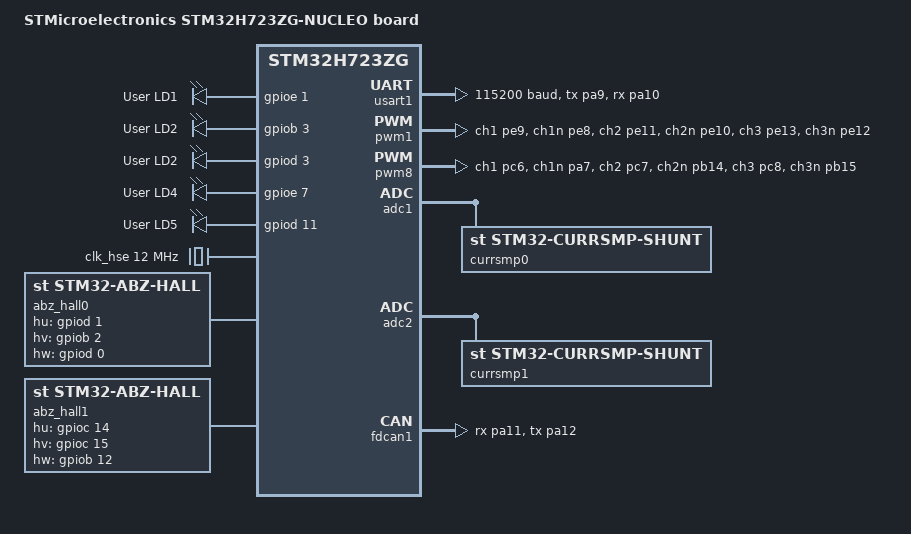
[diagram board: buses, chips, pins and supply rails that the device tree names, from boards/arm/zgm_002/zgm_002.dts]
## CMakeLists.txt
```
# SPDX-License-Identifier: Apache-2.0

cmake_minimum_required(VERSION 3.20.0)
find_package(Zephyr REQUIRED HINTS $ENV{ZEPHYR_BASE})

project(motor)

add_subdirectory(drivers)
add_subdirectory(lib)
add_subdirectory(canard)

zephyr_include_directories(
    include
    ProtocolV4/uavcan/.cFolder 
    ProtocolV4/uavcan/libcanard/libcanard
    CommonLibrary
)
zephyr_library_sources(ProtocolV4/uavcan/libcanard/libcanard/canard.c)
zephyr_library_sources(CommonLibrary/statemachine/statemachine.c)
zephyr_library_sources(CommonLibrary/algorithmlib/pid.c)
zephyr_library_sources(CommonLibrary/algorithmlib/filter.c)
zephyr_library_sources(CommonLibrary/algorithmlib/s_posi_planning.c)

target_sources(app PRIVATE modulestest/main.c)
```

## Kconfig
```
# motor/Kconfig
# 必须包含 Zephyr 的主 Kconfig 以初始化核心配置
source "Kconfig.zephyr"
rsource "lib/Kconfig"
rsource "lib/bldcmotor/Kconfig.motor"
rsource "Kconfig.app"
```

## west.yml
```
# motor/west.yml
manifest:
  remotes:
    - name: zephyrproject
      url-base: https://github.com/zephyrproject-rtos
  projects:
    - name: zephyr
      path: zephyr
      remote: zephyrproject
      revision:  main # 确保此版本支持 STM32G4i
  self:
    path: motor      
```

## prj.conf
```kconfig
CONFIG_GPIO=y
CONFIG_LOG=y
CONFIG_COMPILER_SAVE_TEMPS=y
CONFIG_CMSIS_DSP=y
CONFIG_CMSIS_DSP_BASICMATH=y  # 根据需要启用其他功能模块
CONFIG_CMSIS_DSP_CONTROLLER=y  # 启用三角函数函数（包含 arm_sin_cos_f32）
CONFIG_CMSIS_DSP_FASTMATH=y

# 禁用 UART 控制台输出
CONFIG_UART_CONSOLE=n

# 启用 RTT 控制台
CONFIG_RTT_CONSOLE=y

# 启用 SEGGER RTT 通信协议
CONFIG_USE_SEGGER_RTT=y

CONFIG_FPU=y
CONFIG_FPU_SHARING=y

CONFIG_DEBUG_OPTIMIZATIONS=y
CONFIG_NO_OPTIMIZATIONS=y


CONFIG_CAN=y
CONFIG_CAN_FD_MODE=y
CONFIG_CAN_STM32H7_FDCAN=y
CONFIG_CAN_INIT_PRIORITY=70

CONFIG_STD_C11=y

# CONFIG_DEVICE_ITERATION=y


# 选择电机型号
CONFIG_MOTOR_SUPER_ABZHALL_400W=y
```

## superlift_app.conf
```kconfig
CONFIG_GPIO=y
CONFIG_LOG=y
CONFIG_COMPILER_SAVE_TEMPS=y
CONFIG_CMSIS_DSP=y
CONFIG_CMSIS_DSP_BASICMATH=y  # 根据需要启用其他功能模块
CONFIG_CMSIS_DSP_CONTROLLER=y  # 启用三角函数函数（包含 arm_sin_cos_f32）
CONFIG_CMSIS_DSP_FASTMATH=y

# 禁用 UART 控制台输出
CONFIG_UART_CONSOLE=n

# 启用 RTT 控制台
CONFIG_RTT_CONSOLE=y

# 启用 SEGGER RTT 通信协议
CONFIG_USE_SEGGER_RTT=y

CONFIG_FPU=y
CONFIG_FPU_SHARING=y

CONFIG_DEBUG_OPTIMIZATIONS=y
CONFIG_NO_OPTIMIZATIONS=y
CONFIG_CAN=y
CONFIG_CAN_FD_MODE=y
CONFIG_CAN_STM32H7_FDCAN=y
CONFIG_CAN_INIT_PRIORITY=70

CONFIG_STD_C11=y

# CONFIG_DEVICE_ITERATION=y


# 选择电机型号
CONFIG_MOTOR_SUPER_ABZHALL_400W=y
CONFIG_MOTOR_MODEL=y  # 修正后的写法
```

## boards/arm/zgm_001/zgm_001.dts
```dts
/*
 * Copyright (c) 2019 Richard Osterloh <richard.osterloh@gmail.com>
 *
 * SPDX-License-Identifier: Apache-2.0
 */

/dts-v1/;
#include <st/g4/stm32g431Xb.dtsi>
#include <st/g4/stm32g431c(6-8-b)ux-pinctrl.dtsi>

/ {
	model = "STMicroelectronics STM32G431RB-NUCLEO_X board";
	compatible = "st,stm32g431rb_x-nucleo";

	chosen {
		zephyr,console = &usart3;
		zephyr,shell-uart = &usart3;
		zephyr,sram = &sram0;
		zephyr,flash = &flash0;
		zephyr,code-partition = &slot0_partition;
	};

	leds: leds {
		compatible = "gpio-leds";
		green_led: led_0 {
			gpios = <&gpioc 4 GPIO_ACTIVE_HIGH>;
			label = "User LD2";
		};
	};
    motors {
        motor1: motor_1 {
            compatible = "motor-bldc";
            control-algorithm = <&foc1>;
            status = "okay";
        };
    };
	control_algorithm {
		foc1:ctrl_algo1{
			compatible = "foc-ctrl-algo";
			currsmp = <&currsmp1>;
			pwm = <&pwm1>;
			feedback = <&abz_hall2>;
			modulate = <1>;
			status = "okay";
		};
	};	
	aliases {
		led0 = &green_led;
		mcuboot-led0 = &green_led;
		watchdog0 = &iwdg;
	};
};

&clk_lsi {
	status = "okay";
};

&clk_lse {
	status = "disabled";
};

&clk_hsi48 {
	status = "okay";
};

&clk_hse {
	clock-frequency = <DT_FREQ_M(24)>;
	status = "okay";
};

&pll {
	div-m = <6>;
	mul-n = <85>;
	div-p = <7>;
	div-q = <2>;
	div-r = <2>;
	clocks = <&clk_hse>;
	status = "okay";
};

&rcc {
	clocks = <&pll>;
	clock-frequency = <DT_FREQ_M(170)>;
	ahb-prescaler = <1>;
	apb1-prescaler = <1>;
	apb2-prescaler = <1>;
};

&rng {
	clocks = <&rcc STM32_CLOCK_BUS_AHB2 0x04000000>,
		 <&rcc STM32_SRC_HSI48 CLK48_SEL(0)>;
	status = "okay";
};

&usart3 {
	pinctrl-0 = <&usart3_tx_pb10 &usart3_rx_pb11>;
	pinctrl-names = "default";
	current-speed = <115200>;
	status = "okay";
};

stm32_lp_tick_source: &lptim1 {
	clocks = <&rcc STM32_CLOCK_BUS_APB1 0x80000000>,
		 <&rcc STM32_SRC_LSE LPTIM1_SEL(3)>;
	status = "okay";
};

&rtc {
	clocks = <&rcc STM32_CLOCK_BUS_APB1 0x00000400>,
		 <&rcc STM32_SRC_LSI RTC_SEL(2)>;
	status = "okay";
};

&flash0 {

	partitions {
		compatible = "fixed-partitions";
		#address-cells = <1>;
		#size-cells = <1>;

		boot_partition: partition@0 {
			label = "mcuboot";
			reg = <0x00000000 DT_SIZE_K(34)>;
		};
		slot0_partition: partition@8800 {
			label = "image-0";
			reg = <0x00008800 DT_SIZE_K(48)>;
		};
		slot1_partition: partition@14800 {
			label = "image-1";
			reg = <0x00014800 DT_SIZE_K(42)>;
		};
		/* Set 4Kb of storage at the end of the 128Kb of flash */
		storage_partition: partition@1f000 {
			label = "storage";
			reg = <0x0001f000 DT_SIZE_K(4)>;
		};
	};
};

&timers1 {
    pwm1: pwm {
        compatible = "st,stm32-pwm-custom";
        pinctrl-0 = <&tim1_ch1_pe9  &tim1_ch1n_pe8
                    &tim1_ch2_pe11 &tim1_ch2n_pe10
                    &tim1_ch3_pe13 &tim1_ch3n_pe12>;
        pinctrl-names = "default";
        timing-params = <120 13750 0>;  // t_dead_ns, arr, psc
        slave = <0>;
        status = "okay";
    };
};
&adc1 {
	currsmp1: currsmp {
		compatible = "st,stm32-currsmp-shunt";
		pinctrl-0 = <&adc1_inp16_pa0  &adc1_inp17_pa1 &adc1_inp14_pa2>;
		pinctrl-names = "default";
		adc-channels = <16 17 14>;
		adc-slave = <0>;
		status = "okay";
	};
};
&timers3 {
	abz_hall1: abz_hall {
		compatible = "st,stm32-abz-hall";
		pinctrl-0 = <&tim3_ch1_pb4 &tim3_ch2_pb5>;
		pinctrl-names = "default";
		lines = <4096>;
		pole-pairs = <15>;
		hu-gpios = <&gpiod 1 GPIO_ACTIVE_HIGH>;
		hv-gpios = <&gpiob 2 GPIO_ACTIVE_HIGH>;
		hw-gpios = <&gpiod 0 GPIO_ACTIVE_HIGH>;
		status = "okay";
	};
};
```

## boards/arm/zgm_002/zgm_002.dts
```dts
/*
 * Copyright (c) 2020 Alexander Kozhinov <ak.alexander.kozhinov@gmail.com>
 * SPDX-License-Identifier: Apache-2.0
 */

/dts-v1/;
#include <st/h7/stm32h723Xg.dtsi>
#include <st/h7/stm32h723vgtx-pinctrl.dtsi>

/*
 * WARNING:
 * JP6 and SB72 must be ON when using Ethernet.
 */

/ {
	model = "STMicroelectronics STM32H723ZG-NUCLEO board";
	compatible = "st,stm32h723zg-nucleo";

	chosen {
		zephyr,console = &usart1;
		zephyr,shell-uart = &usart1;
		zephyr,dtcm = &dtcm;
		zephyr,sram = &sram0;
		zephyr,flash = &flash0;
		zephyr,canbus = &fdcan1;
	};

	leds: leds {
		compatible = "gpio-leds";
		green_led: led_0 {
			gpios = <&gpioe 1 GPIO_ACTIVE_HIGH>;
			label = "User LD1";
		};
		mot12_brk_pin: led_1 {
			gpios = <&gpiob 3 GPIO_ACTIVE_HIGH>;
			label = "User LD2";
		};
		encoder_vcc: led_2 {
			gpios = <&gpiod 3 GPIO_ACTIVE_HIGH>;
			label = "User LD2";
		};	
		wdog: led_3 {
			gpios = <&gpioe 7 GPIO_ACTIVE_HIGH>;
			label = "User LD4";
		};				
		proximity_switch:led_4{
			gpios = <&gpiod 11 GPIO_ACTIVE_HIGH>;
			label = "User LD5";
		};
	};

	aliases {
		led0 = &green_led;
	};
    motors {
        motor0: motor_0 {
			compatible = "motor-bldc";
			control-algorithm = <&foc0>;
			feedback = <&abz_hall0>;  // 添加feedback属性
			currsmp = <&currsmp0>;
			pwm = <&pwm1>;
			status = "okay";
        };
        motor1: motor_1 {
			compatible = "motor-bldc";
			control-algorithm = <&foc1>;
			feedback = <&abz_hall1>;  // 添加feedback属      
			currsmp = <&currsmp1>;
			pwm = <&pwm8>;			
		    status = "disabled";
        };
    };
	control_algorithm {
		foc0:ctrl_algo0{
			compatible = "foc-ctrl-algo";
			modulate = <1>;
			status = "okay";
		};
		foc1:ctrl_algo1{
			compatible = "foc-ctrl-algo";
			modulate = <0>;
			status = "okay";
		};
	};
};

&clk_lsi {
	status = "okay";
};

&clk_hsi48 {
	status = "okay";
};

&clk_hse {
	clock-frequency = <DT_FREQ_M(12)>; /* STLink 12MHz clock */
	status = "okay";
};

&clk_lse {
	status = "disabled";
};

&pll {
	div-m = <6>;
	mul-n = <275>;
	div-p = <1>;
	div-q = <4>;
	div-r = <2>;
	clocks = <&clk_hse>;
	status = "okay";
};

&pll2 {
	div-m = <1>;
	mul-n = <10>;
	div-p = <1>;
	div-q = <1>;
	div-r = <1>;
	clocks = <&clk_hse>;
	status = "okay";
};

&rcc {
	clocks = <&pll>;
	clock-frequency = <DT_FREQ_M(550)>;
	d1cpre = <1>;
	hpre = <2>;    /* HCLK: 275   MHz */
	d1ppre = <2>;  /* APB1: 137.5 MHz */
	d2ppre1 = <2>; /* APB2: 137.5 MHz */
	d2ppre2 = <2>; /* APB3: 137.5 MHz */
	d3ppre = <2>;  /* APB4: 137.5 MHz */
};


&usart1 {
	pinctrl-0 = <&usart1_tx_pa9 &usart1_rx_pa10>;
	pinctrl-names = "default";
	current-speed = <115200>;
	status = "okay";
};

&timers1 {
    pwm1: pwm {
        compatible = "st,stm32-pwm-custom";
        pinctrl-0 = <&tim1_ch1_pe9  &tim1_ch1n_pe8
                    &tim1_ch2_pe11 &tim1_ch2n_pe10
                    &tim1_ch3_pe13 &tim1_ch3n_pe12>;
        pinctrl-names = "default";
        timing-params = <120 13750 0>;  // t_dead_ns, arr, psc
        slave = <0>;
        status = "okay";
    };
};

&timers8 {
    pwm8: pwm {
        compatible = "st,stm32-pwm-custom";
        pinctrl-0 = <&tim8_ch1_pc6 &tim8_ch1n_pa7
                    &tim8_ch2_pc7 &tim8_ch2n_pb14
                    &tim8_ch3_pc8 &tim8_ch3n_pb15>;
        pinctrl-names = "default";
        timing-params = <120 13750 0>;  // t_dead_ns, arr, psc
        slave = <1>;
        status = "okay";
    };
};


&timers4 {
	abz_hall0: abz_hall {
		compatible = "st,stm32-abz-hall";
		pinctrl-0 = <&tim4_ch1_pb6 &tim4_ch2_pb7>;
		pinctrl-names = "default";		
		lines = <4096>;
		pole-pairs = <15>;
		hu-gpios = <&gpiod 1 GPIO_ACTIVE_HIGH>;
		hv-gpios = <&gpiob 2 GPIO_ACTIVE_HIGH>;
		hw-gpios = <&gpiod 0 GPIO_ACTIVE_HIGH>;		
		
		status = "okay";
	};	

};
&timers3 {
	abz_hall1: abz_hall {
		compatible = "st,stm32-abz-hall";
		pinctrl-0 = <&tim3_ch1_pb4 &tim3_ch2_pb5>;
		pinctrl-names = "default";


		lines = <4096>;
		pole-pairs = <15>;
		hu-gpios = <&gpioc 14 GPIO_ACTIVE_HIGH>;
		hv-gpios = <&gpioc 15 GPIO_ACTIVE_HIGH>;
		hw-gpios = <&gpiob 12 GPIO_ACTIVE_HIGH>;		
		status = "okay";
	};
};

&adc1 {
	currsmp0: currsmp {
		compatible = "st,stm32-currsmp-shunt";
		pinctrl-0 = <&adc1_inp15_pa3 &adc1_inp16_pa0  &adc1_inp17_pa1 &adc1_inp14_pa2>;
		pinctrl-names = "default";
		adc-channels = <15 16 17 14>;
		adc-slave = <0>;
		status = "okay";
	};
};

&adc2 {
	currsmp1: currsmp {
		compatible = "st,stm32-currsmp-shunt";
		pinctrl-0 = <&adc2_inp8_pc5  &adc2_inp9_pb0 &adc2_inp5_pb1>;
		pinctrl-names = "default";
		adc-channels = <8 9 5>;
		adc-slave = <1>;
		status = "okay";
	};
};

&backup_sram {
	status = "okay";
};

&fdcan1 {
	pinctrl-0 = <&fdcan1_rx_pa11 &fdcan1_tx_pa12>;
	pinctrl-names = "default";
	clocks = <&rcc STM32_CLOCK_BUS_APB1_2 0x00000100>,
		 <&rcc STM32_SRC_PLL2_Q FDCAN_SEL(2)>;
	status = "okay";
};
```

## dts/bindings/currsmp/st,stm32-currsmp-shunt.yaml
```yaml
# Copyright (c) 2021, Teslabs Engineering S.L.
# SPDX-License-Identifier: Apache-2.0

description: |
  STM32 shunt current sampling driver.

  The shunt current sampling device is expected to be a children of any STM32
  ADC supporting injected conversions. Example usage:

    &adc1 {
      currsmp: currsmp {
        compatible = "st,stm32-currsmp-shunt";
        pinctrl-0 = <&adc1_in1_pa0 &adc1_in7_pc1 &adc1_in6_pc0>;
        pinctrl-names = "default";

        adc-resolution = <12>;
        adc-tsample-us = <2>;
        adc-channels = <1 7 6>;
        adc-trigger = <STM32_ADC_INJ_TRIG_TIM1_TRGO>;
      };
    };

compatible: "st,stm32-currsmp-shunt"

include: [base.yaml, pinctrl-device.yaml]

properties:
  pinctrl-0:
    required: true

  pinctrl-names:
    required: true

  adc-resolution:
    type: int
    required: false
    description: |
      ADC resolution in bits. Available resolutions can differ depending on
      the selected SoC family.

  adc-tsample:
    type: int
    required: false
    description: |
      ADC sampling time in cycles. Decimal sampling times must be rounded
      up, e.g. 19.5 needs to be provided as 20. Available sample times can
      differ depending on the SoC family.

  adc-channels:
    type: array
    required: false
    description: |
      ADC channels (a, b, c).

  adc-trigger:
    type: int
    required: false
    description: |
      External trigger for the injected ADC conversions. The external trigger
      must be an output of the timer used for SV-PWM.

      Definitions available at dts-bindings/adc/stm32fxxx.h files.
```

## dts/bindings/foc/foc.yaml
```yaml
# Copyright 2023 SyriusRobotics
# SPDX-License-Identifier: Apache-2.0

description: Motor Control Algorithm 

compatible: "foc-ctrl-algo"

properties:
  currsmp:
    type: phandle
    required: true
    description: FOC SVPWM 
  feedback:    
    type: phandle
    required: true 
    description: FOC SVPWM out          
  pwm:
    type: phandle
    required: true
    description: FOC SVPWM out  
  modulate:
    type: int
    required: true
    description: FOC SVPWM FLAG  
```

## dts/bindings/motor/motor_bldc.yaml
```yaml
# Copyright 2023 SyriusRobotics
# SPDX-License-Identifier: Apache-2.0

description: BLDC 电机设备绑定

compatible: "motor-bldc"

include: [base.yaml]

properties:
  control-algorithm:
    type: phandle
    required: true
    description: 指向 FOC 控制算法的句柄
  
  status:
    type: string
    required: false
    description: 设备状态 (okay/disabled)
```

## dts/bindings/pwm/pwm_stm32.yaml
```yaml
# Copyright (c) 2021, Teslabs Engineering S.L.
# SPDX-License-Identifier: Apache-2.0

description: |
  STM32S PWM device.

  The PWM device is expected to be a children of any STM32 advanced control
  timer. Example usage:

      &timers1 {
          pwm: pwm {
              compatible = "st,stm32-pwm-custom";
              pinctrl-0 = <&tim1_ch1_pa8 &tim1_ch2_pa9 &tim1_ch3_pa10 &tim1_ocp_pa11>;
              pinctrl-names = "default";
              t_dead = <1000>;  // 死区时间配置
              ...
          };
      };

compatible: "st,stm32-pwm-custom"

include: [base.yaml, pinctrl-device.yaml]

properties:
  pinctrl-0:
    required: true

  pinctrl-names:
    required: true

child-binding:
  description: PWM driver configuration
  properties:
    t_dead_ns:
      type: int
      required: false
      description: Dead time in nanoseconds
    slave:
      type: int
      required: true
      description: Dead time in nanoseconds      
```

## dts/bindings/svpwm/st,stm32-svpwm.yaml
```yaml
# Copyright (c) 2021, Teslabs Engineering S.L.
# SPDX-License-Identifier: Apache-2.0

description: |
  STM32 SV-PWM device.

  The SV-PWM device is expected to be a children of any STM32 advanced control
  timer. Example usage:

      &timers1 {
          svpwm: svpwm {
              compatible = "st,stm32-svpwm";
              pinctrl-0 = <&tim1_ch1_pa8 &tim1_ch2_pa9 &tim1_ch3_pa10 &tim1_ocp_pa11>;
              pinctrl-names = "default";
              ...
          };
      };

compatible: "st,stm32-svpwm"

include: [base.yaml, pinctrl-device.yaml]

properties:
  pinctrl-0:
    required: true

  pinctrl-names:
    required: true

  # currsmp:
  #   type: phandle
  #   required: true
  #   description: |
  #     Current sampling device.
```

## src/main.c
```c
/*
 * Copyright (c) 2016 Intel Corporation
 *
 * SPDX-License-Identifier: Apache-2.0
 */

#include <stdio.h>
#include <zephyr/kernel.h>
#include <zephyr/drivers/gpio.h>

/* 1000 msec = 1 sec */
#define SLEEP_TIME_MS   200

/* The devicetree node identifier for the "led0" alias. */
#define LED0_NODE DT_ALIAS(led0)
extern void tim1_enable(void);
extern void tim1_set_pwm(float _a, float _b, float _c);

/*
 * A build error on this line means your board is unsupported.
 * See the sample documentation for information on how to fix this.
 */
static const struct gpio_dt_spec led = GPIO_DT_SPEC_GET(LED0_NODE, gpios);
extern int svpwm_stm32_init(const struct device *dev);
int main(void)
{
	int ret;
	bool led_state = true;
	static const struct device *dev = DEVICE_DT_GET(DT_NODELABEL(svpwm1));
	svpwm_stm32_init(dev);
	if (!gpio_is_ready_dt(&led)) {
		return 0;
	}

	ret = gpio_pin_configure_dt(&led, GPIO_OUTPUT_ACTIVE);
	if (ret < 0) {
		return 0;
	}
	tim1_enable();
	tim1_set_pwm(0.5f,0.5f,0.5f);
	while (1) {
		ret = gpio_pin_toggle_dt(&led);
		if (ret < 0) {
			return 0;
		}

		led_state = !led_state;
		printf("LED state: %s\n", led_state ? "ON" : "OFF");
		k_msleep(SLEEP_TIME_MS);
	}
	return 0;
}
```
